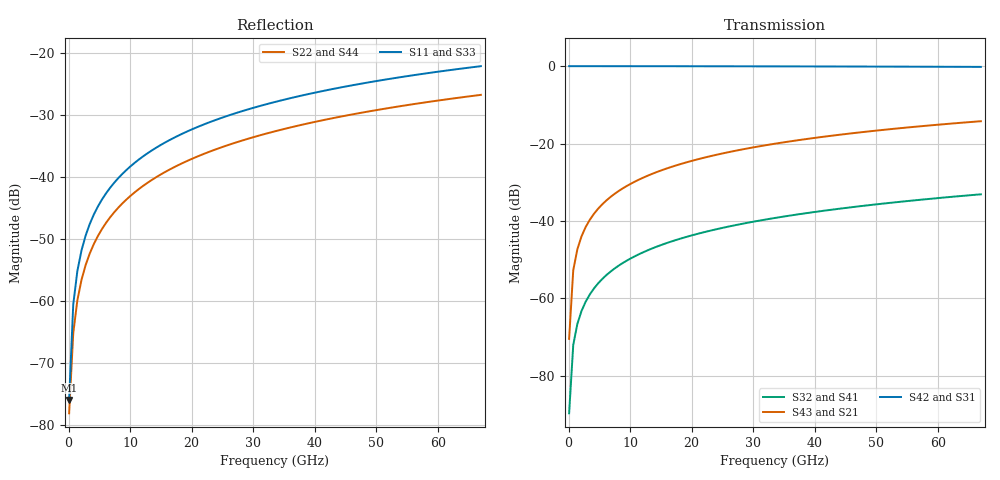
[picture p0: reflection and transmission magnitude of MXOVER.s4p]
! Touchstone Ver. 1.0
! Number of ports is 4
# Hz  S RI  R  50
! SCATTERING PARAMETERS  :
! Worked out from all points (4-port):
!   101 points, 100 MHz to 67 GHz, reference 50 ohm
!   strongest paths, dB at 100 MHz, 16.82 GHz, 33.55 GHz, 50.27 GHz, 67 GHz:
!     S42: 0.0, 0.0, -0.1, -0.1, -0.2
!     S31: 0.0, 0.0, -0.1, -0.1, -0.2
!     S43: -70.5, -26.0, -20.0, -16.6, -14.2
!     S21: -70.5, -26.0, -20.0, -16.6, -14.2
!     S32: -89.7, -45.3, -39.2, -35.7, -33.1
!     S41: -89.8, -45.3, -39.3, -35.7, -33.2
!   lowest |S11| = -76.0 dB at 100 MHz (marker M1), VSWR 1.00, Z = 50 - j0.0121 ohm
!   |S11| at or under -10 dB: start of sweep to end of sweep
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1e8  0.000104 -0.000121  4.76e-06 0.000299  0.9999 -0.000539  -3.86e-06 -3.25e-05
     4.76e-06 0.000299  0.000103 6.98e-05  -3.86e-06 -3.22e-05  0.9999 -0.000377
     0.9999 -0.000539  -3.86e-06 -3.25e-05  0.000104 -0.000121  4.76e-06 0.000299
     -3.86e-06 -3.22e-05  0.9999 -0.000377  4.76e-06 0.000299  0.000103 6.98e-05
7.69e8  0.000102 -0.000931  1.81e-05 0.0023  0.9999 -0.00414  -4.58e-06 -0.00025
        1.82e-05 0.0023  0.00011 0.000537  -4.55e-06 -0.000248  0.9999 -0.0029
        0.9999 -0.00414  -4.58e-06 -0.00025  0.000102 -0.000931  1.81e-05 0.0023
        -4.55e-06 -0.000248  0.9999 -0.0029  1.82e-05 0.0023  0.00011 0.000537
2.107e9  8.6e-05 -0.00255  7.95e-05 0.0063  0.9998 -0.0114  -5.99e-06 -0.000684
         7.96e-05 0.0063  0.000137 0.00147  -5.87e-06 -0.000679  0.9998 -0.00794
         0.9998 -0.0114  -5.99e-06 -0.000684  8.6e-05 -0.00255  7.95e-05 0.0063
         -5.87e-06 -0.000679  0.9998 -0.00794  7.96e-05 0.0063  0.000137 0.00147
5.452e9  -3.94e-05 -0.0066  0.000444 0.0163  0.9992 -0.0294  -1.93e-05 -0.00177
         0.000445 0.0163  0.000262 0.0038  -1.88e-05 -0.00176  0.9994 -0.0205
         0.9992 -0.0294  -1.93e-05 -0.00177  -3.94e-05 -0.0066  0.000444 0.0163
         -1.88e-05 -0.00176  0.9994 -0.0205  0.000445 0.0163  0.000262 0.0038
1.0135e10  -0.000424 -0.0122  0.00146 0.0302  0.9976 -0.0545  -6.09e-05 -0.00329
           0.00146 0.0303  0.000569 0.00706  -5.94e-05 -0.00326  0.9985 -0.0382
           0.9976 -0.0545  -6.09e-05 -0.00329  -0.000424 -0.0122  0.00146 0.0302
           -5.94e-05 -0.00326  0.9985 -0.0382  0.00146 0.0303  0.000569 0.00706
3.0205e10  -0.00489 -0.0359  0.0124 0.0888  0.9815 -0.1607  -0.000592 -0.00982
           0.0124 0.0889  0.00352 0.0207  -0.000581 -0.00974  0.9888 -0.1127
           0.9815 -0.1607  -0.000592 -0.00982  -0.00489 -0.0359  0.0124 0.0888
           -0.000581 -0.00974  0.9888 -0.1127  0.0124 0.0889  0.00352 0.0207
6.7e10  -0.0231 -0.0746  0.0578 0.1854  0.9149 -0.3407  -0.00325 -0.0219
        0.0578 0.1856  0.0158 0.0431  -0.0032 -0.0217  0.9486 -0.2407
        0.9149 -0.3407  -0.00325 -0.0219  -0.0231 -0.0746  0.0578 0.1854
        -0.0032 -0.0217  0.9486 -0.2407  0.0578 0.1856  0.0158 0.0431
